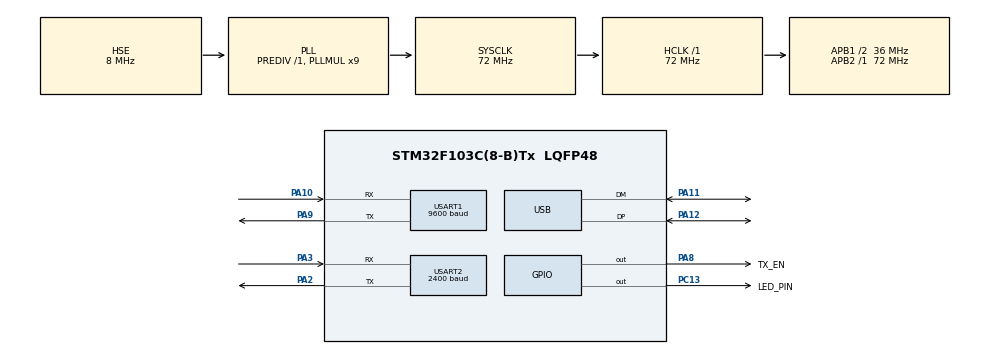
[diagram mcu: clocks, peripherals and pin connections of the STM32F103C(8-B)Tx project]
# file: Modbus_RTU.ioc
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Mcu.Family=STM32F1
Mcu.Name=STM32F103C(8-B)Tx
Mcu.Package=LQFP48
NVIC.PriorityGroup=NVIC_PRIORITYGROUP_4
NVIC.USART1_IRQn=true\:0\:0\:false\:false\:true\:true\:true\:true
NVIC.USART2_IRQn=true\:0\:0\:false\:false\:true\:true\:true\:true
NVIC.USB_LP_CAN1_RX0_IRQn=true\:0\:0\:false\:false\:true\:false\:true\:true
PA10.Mode=Asynchronous
PA10.Signal=USART1_RX
PA11.Mode=Device
PA11.Signal=USB_DM
PA12.Mode=Device
PA12.Signal=USB_DP
PA13.Mode=Trace_Asynchronous_SW
PA13.Signal=SYS_JTMS-SWDIO
PA14.Mode=Trace_Asynchronous_SW
PA14.Signal=SYS_JTCK-SWCLK
PA2.Mode=Asynchronous
PA2.Signal=USART2_TX
PA3.Mode=Asynchronous
PA3.Signal=USART2_RX
PA8.GPIO_Label=TX_EN
PA8.Signal=GPIO_Output
PA9.Mode=Asynchronous
PA9.Signal=USART1_TX
PB3.Mode=Trace_Asynchronous_SW
PB3.Signal=SYS_JTDO-TRACESWO
PC13-TAMPER-RTC.GPIO_Label=LED_PIN
PC13-TAMPER-RTC.Signal=GPIO_Output
PC14-OSC32_IN.Mode=LSE-External-Oscillator
PC14-OSC32_IN.Signal=RCC_OSC32_IN
PC15-OSC32_OUT.Mode=LSE-External-Oscillator
PC15-OSC32_OUT.Signal=RCC_OSC32_OUT
PD0-OSC_IN.Mode=HSE-External-Oscillator
PD0-OSC_IN.Signal=RCC_OSC_IN
PD1-OSC_OUT.Mode=HSE-External-Oscillator
PD1-OSC_OUT.Signal=RCC_OSC_OUT
ProjectManager.HeapSize=0x200
ProjectManager.StackSize=0x400
ProjectManager.TargetToolchain=STM32CubeIDE
RCC.AHBFreq_Value=72000000
RCC.APB1CLKDivider=RCC_HCLK_DIV2
RCC.APB1Freq_Value=36000000
RCC.APB1TimFreq_Value=72000000
RCC.APB2Freq_Value=72000000
RCC.APB2TimFreq_Value=72000000
RCC.HCLKFreq_Value=72000000
RCC.PLLMUL=RCC_PLL_MUL9
RCC.PLLSourceVirtual=RCC_PLLSOURCE_HSE
RCC.SYSCLKFreq_VALUE=72000000
RCC.SYSCLKSource=RCC_SYSCLKSOURCE_PLLCLK
RCC.USBFreq_Value=48000000
RCC.USBPrescaler=RCC_USBCLKSOURCE_PLL_DIV1_5
USART1.BaudRate=9600
USART1.VirtualMode=VM_ASYNC
USART2.BaudRate=2400
USART2.Parity=PARITY_EVEN
USART2.VirtualMode=VM_ASYNC
USART2.WordLength=WORDLENGTH_9B
USB_DEVICE.CLASS_NAME_FS=CDC
USB_DEVICE.VirtualMode=Cdc
USB_DEVICE.VirtualModeFS=Cdc_FS
VP_USB_DEVICE_VS_USB_DEVICE_CDC_FS.Mode=CDC_FS
board=custom

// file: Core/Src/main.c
/* USER CODE BEGIN Header */
/**
  ******************************************************************************
  * @file           : main.c
  * @brief          : Main program body
  ******************************************************************************
  * @attention
  *
  * Copyright (c) 2023 STMicroelectronics.
  * All rights reserved.
  *
  * This software is licensed under terms that can be found in the LICENSE file
  * in the root directory of this software component.
  *
  *************************  * If no LICENSE file comes with this software, it is provided AS-IS.
*****************************************************
  */
/* USER CODE END Header */
#include "main.h"
#include "usb_device.h"

/* USER CODE BEGIN Includes */
#include "stdio.h"
#include "modbus_crc.h"
#include "string.h"
#include "usbd_cdc_if.h"
#include "stdbool.h"
/* USER CODE END Includes */

UART_HandleTypeDef huart1;
UART_HandleTypeDef huart2;

/* USER CODE BEGIN PV */
uint8_t Rxdata[38];
uint8_t Txdata[8];
bool modbus_stat;
char *text;

/* USER CODE END PV */

void SystemClock_Config(void);
static void MX_GPIO_Init(void);
static void MX_USART1_UART_Init(void);
static void MX_USART2_UART_Init(void);

/* USER CODE BEGIN 0 */
//Serial Wire Debug SWO Pri
int _write(int file, char *ptr, int len){
     int DataIdx;
     for (DataIdx = 0; DataIdx < len; DataIdx++){
         ITM_SendChar((*ptr++));
     }
     return len;
}

void send_debug_CDC(char *data){

	HAL_GPIO_WritePin(LED_PIN_GPIO_Port, LED_PIN_Pin, 0);
	int dataLen = strlen(data);
	char dataCDC[dataLen + 1];
	strcpy(dataCDC, data);
	dataCDC[dataLen] = '\n';
	dataCDC[dataLen + 1] = '\0';
	CDC_Transmit_FS((uint8_t*)dataCDC, strlen(dataCDC));
	printf(dataCDC);
	HAL_Delay(5);
	HAL_GPIO_WritePin(LED_PIN_GPIO_Port, LED_PIN_Pin, 1);
	free(text);
}

void modbus(uint8_t slaveAdd, uint8_t funcCode, uint8_t startAddr1, uint8_t startAddr2, uint8_t qty1, uint8_t qty2){
	uint8_t* dataFrame[] = {&slaveAdd, &funcCode, &startAddr1, &startAddr2, &qty1, &qty2};

	HAL_UARTEx_ReceiveToIdle_IT(&huart2, Rxdata, sizeof(Rxdata));

	for (int x = 0; x < 6; x++){
		Txdata[x] = *dataFrame[x];
	}

	uint16_t crc = crc16(Txdata, 6);
    Txdata[6] = crc & 0xFF;         // CRC Low
    Txdata[7] = (crc >> 8) & 0xFF;  // CRC High
    request_modbus(Txdata);
}

void request_modbus(uint8_t *data){

	send_debug_CDC("[Modbus Request : ");
	HAL_GPIO_WritePin(TX_EN_GPIO_Port, TX_EN_Pin, 1);
	HAL_UART_Transmit(&huart2, data, 8, 1000);

	int offset = 0;
	for (int i = 0; i < sizeof(Txdata)/sizeof(Txdata[0]); i++){
		offset+= sprintf(text+offset, "%02X", Txdata[i]);
	}

	send_debug_CDC(text);
	HAL_GPIO_WritePin(TX_EN_GPIO_Port, TX_EN_Pin, 0);

	if (Rxdata[0] != 0){
		modbus_stat = 1;
		int offset1 = 0;
		for (int x = 0; x < sizeof(Rxdata)/sizeof(Rxdata[0]); x++){
			offset1+= sprintf(text+offset1, "%02X", Rxdata[x]);
		}
		send_debug_CDC("Modbus Response :");
		send_debug_CDC(text);
		decode_data();
		HAL_Delay(5);

	}else{
		modbus_stat = 0;
		sprintf(text,"No Response from slave!!!");
		send_debug_CDC(text);
		HAL_Delay(5);
	}
}

void decode_data(){
	uint8_t databyte[4];
	uint32_t sensordata= 0;
	int offset1 = 0;

	for (int i = 0; i < 4; i++){
		databyte[i] = Rxdata[3+i];
		offset1+= sprintf(text+offset1, "%02X", databyte[i]);
	}
	send_debug_CDC(text);

//	for (int i = 0; i < 4; i++){
//		sensordata = (sensordata << 8) | databyte[i];
//	}
	sensordata = (Rxdata[6] << 24) | (Rxdata[5] << 16) | (Rxdata[3] << 8) | Rxdata[4];
	sprintf(text, "Sensor data : %lu", sensordata);
	send_debug_CDC(text);
}

void HAL_UARTEx_RxEventCallback(UART_HandleTypeDef *huart, uint16_t Size){

}

/* USER CODE END 0 */

int main(void)
{

  /* MCU Configuration--------------------------------------------------------*/

  /* Reset of all peripherals, Initializes the Flash interface and the Systick. */
  HAL_Init();

  /* Configure the system clock */
  SystemClock_Config();

  /* Initialize all configured peripherals */
  MX_GPIO_Init();
  MX_USB_DEVICE_Init();
  MX_USART1_UART_Init();
  MX_USART2_UART_Init();
  /* USER CODE BEGIN 2 */
  send_debug_CDC("[MODBUS RTU PROGRAM]");
  HAL_UARTEx_ReceiveToIdle_IT(&huart2, Rxdata, sizeof(Rxdata));
  text = malloc(512);
  /* USER CODE END 2 */

  /* Infinite loop */
  /* USER CODE BEGIN WHILE */
  while (1)
  {
	  modbus(0x01, 0x03, 0x00, 0x07, 0x00, 0x02);
	  HAL_Delay(1000);
    /* USER CODE END WHILE */

  }
}

void SystemClock_Config(void)
{
  RCC_OscInitTypeDef RCC_OscInitStruct = {0};
  RCC_ClkInitTypeDef RCC_ClkInitStruct = {0};
  RCC_PeriphCLKInitTypeDef PeriphClkInit = {0};

  /** Initializes the RCC Oscillators according to the specified parameters
  * in the RCC_OscInitTypeDef structure.
  */
  RCC_OscInitStruct.OscillatorType = RCC_OSCILLATORTYPE_HSE;
  RCC_OscInitStruct.HSEState = RCC_HSE_ON;
  RCC_OscInitStruct.HSEPredivValue = RCC_HSE_PREDIV_DIV1;
  RCC_OscInitStruct.HSIState = RCC_HSI_ON;
  RCC_OscInitStruct.PLL.PLLState = RCC_PLL_ON;
  RCC_OscInitStruct.PLL.PLLSource = RCC_PLLSOURCE_HSE;
  RCC_OscInitStruct.PLL.PLLMUL = RCC_PLL_MUL9;
  if (HAL_RCC_OscConfig(&RCC_OscInitStruct) != HAL_OK)
  {
    Error_Handler();
  }

  /** Initializes the CPU, AHB and APB buses clocks
  */
  RCC_ClkInitStruct.ClockType = RCC_CLOCKTYPE_HCLK|RCC_CLOCKTYPE_SYSCLK
                              |RCC_CLOCKTYPE_PCLK1|RCC_CLOCKTYPE_PCLK2;
  RCC_ClkInitStruct.SYSCLKSource = RCC_SYSCLKSOURCE_PLLCLK;
  RCC_ClkInitStruct.AHBCLKDivider = RCC_SYSCLK_DIV1;
  RCC_ClkInitStruct.APB1CLKDivider = RCC_HCLK_DIV2;
  RCC_ClkInitStruct.APB2CLKDivider = RCC_HCLK_DIV1;

  if (HAL_RCC_ClockConfig(&RCC_ClkInitStruct, FLASH_LATENCY_2) != HAL_OK)
  {
    Error_Handler();
  }
  PeriphClkInit.PeriphClockSelection = RCC_PERIPHCLK_USB;
  PeriphClkInit.UsbClockSelection = RCC_USBCLKSOURCE_PLL_DIV1_5;
  if (HAL_RCCEx_PeriphCLKConfig(&PeriphClkInit) != HAL_OK)
  {
    Error_Handler();
  }
}

static void MX_USART1_UART_Init(void)
{

  huart1.Instance = USART1;
  huart1.Init.BaudRate = 9600;
  huart1.Init.WordLength = UART_WORDLENGTH_8B;
  huart1.Init.StopBits = UART_STOPBITS_1;
  huart1.Init.Parity = UART_PARITY_NONE;
  huart1.Init.Mode = UART_MODE_TX_RX;
  huart1.Init.HwFlowCtl = UART_HWCONTROL_NONE;
  huart1.Init.OverSampling = UART_OVERSAMPLING_16;
  if (HAL_UART_Init(&huart1) != HAL_OK)
  {
    Error_Handler();
  }

}

static void MX_USART2_UART_Init(void)
{

  huart2.Instance = USART2;
  huart2.Init.BaudRate = 2400;
  huart2.Init.WordLength = UART_WORDLENGTH_9B;
  huart2.Init.StopBits = UART_STOPBITS_1;
  huart2.Init.Parity = UART_PARITY_EVEN;
  huart2.Init.Mode = UART_MODE_TX_RX;
  huart2.Init.HwFlowCtl = UART_HWCONTROL_NONE;
  huart2.Init.OverSampling = UART_OVERSAMPLING_16;
  if (HAL_UART_Init(&huart2) != HAL_OK)
  {
    Error_Handler();
  }

}

static void MX_GPIO_Init(void)
{
  GPIO_InitTypeDef GPIO_InitStruct = {0};

  /* GPIO Ports Clock Enable */
  __HAL_RCC_GPIOC_CLK_ENABLE();
  __HAL_RCC_GPIOD_CLK_ENABLE();
  __HAL_RCC_GPIOA_CLK_ENABLE();
  __HAL_RCC_GPIOB_CLK_ENABLE();

  /*Configure GPIO pin Output Level */
  HAL_GPIO_WritePin(LED_PIN_GPIO_Port, LED_PIN_Pin, GPIO_PIN_RESET);

  /*Configure GPIO pin Output Level */
  HAL_GPIO_WritePin(TX_EN_GPIO_Port, TX_EN_Pin, GPIO_PIN_RESET);

  /*Configure GPIO pin : LED_PIN_Pin */
  GPIO_InitStruct.Pin = LED_PIN_Pin;
  GPIO_InitStruct.Mode = GPIO_MODE_OUTPUT_PP;
  GPIO_InitStruct.Pull = GPIO_NOPULL;
  GPIO_InitStruct.Speed = GPIO_SPEED_FREQ_LOW;
  HAL_GPIO_Init(LED_PIN_GPIO_Port, &GPIO_InitStruct);

  /*Configure GPIO pin : TX_EN_Pin */
  GPIO_InitStruct.Pin = TX_EN_Pin;
  GPIO_InitStruct.Mode = GPIO_MODE_OUTPUT_PP;
  GPIO_InitStruct.Pull = GPIO_NOPULL;
  GPIO_InitStruct.Speed = GPIO_SPEED_FREQ_LOW;
  HAL_GPIO_Init(TX_EN_GPIO_Port, &GPIO_InitStruct);

}

void Error_Handler(void)
{
  __disable_irq();
  while (1)
  {
  }
}
